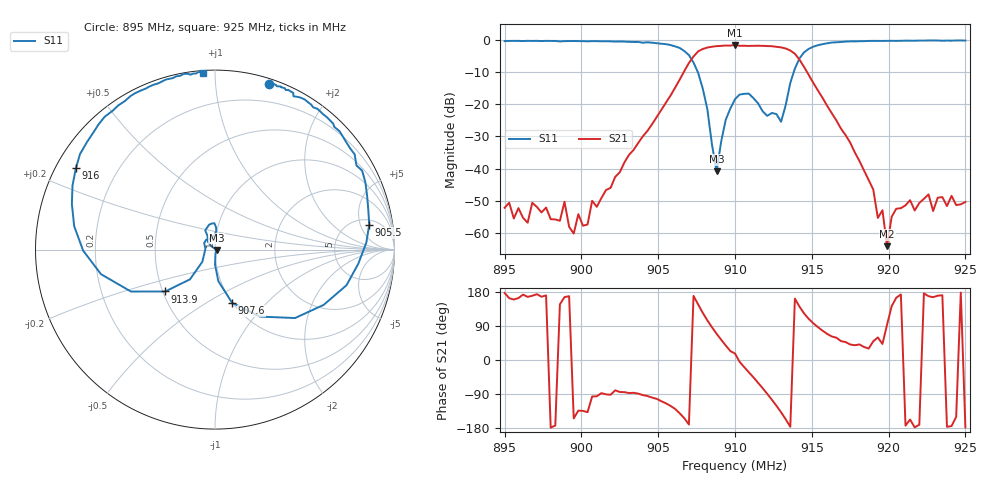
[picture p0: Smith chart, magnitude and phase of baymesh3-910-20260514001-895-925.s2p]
# HZ S RI R 50
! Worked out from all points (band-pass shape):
!   101 points, 895 MHz to 925 MHz, reference 50 ohm
!   highest |S21| = -1.42 dB at 910 MHz (marker M1); lowest = -64.2 dB at 919.9 MHz (marker M2)
!   |S21| within 3 dB of the highest: 907.42 MHz to 913.93 MHz (6.513 MHz wide, 0.715 % of centre)
!   lowest |S11| = -40.9 dB at 908.8 MHz (marker M3), VSWR 1.02, Z = 50.9 - j0.225 ohm
!   |S11| at or under -10 dB: 907.59 MHz to 913.82 MHz (6.234 MHz wide, 0.684 % of centre)
!   S12 and S22 are empty: the file has one direction only
!   S11 on the Smith chart (normalised r, x): 895 MHz: 0.04, +1.38; 905.5 MHz: 6.26, +7.10; 907.6 MHz: 1.00, -0.65; 913.9 MHz: 0.52, -0.28; 916 MHz: 0.06, +0.27; 925 MHz: 0.01, +0.93
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8.95e8  0.3005 0.9232  -0.00244 0.00013  0 0  0 0
8.986e8  0.4371 0.8543  -0.00128 0.000838  0 0  0 0
8.989e8  0.4675 0.8494  -0.00294 0.000734  0 0  0 0
8.995e8  0.5009 0.8357  -0.000872 -0.000423  0 0  0 0
9.001e8  0.5353 0.8084  -0.000895 -0.00092  0 0  0 0
9.052e8  0.8539 0.2261  -0.0263 -0.0776  0 0  0 0
9.055e8  0.8593 0.1378  -0.0435 -0.0969  0 0  0 0
9.067e8  0.6053 -0.3082  -0.2967 -0.1466  0 0  0 0
9.076e8  0.0951 -0.2963  -0.5608 0.37  0 0  0 0
9.088e8  0.00879 -0.00221  0.2849 0.7587  0 0  0 0
9.1e8  -0.0546 0.1075  0.8115 0.2498  0 0  0 0
9.121e8  -0.0325 0.0577  0.00804 -0.8119  0 0  0 0
9.13e8  -0.0534 0.00514  -0.5751 -0.5193  0 0  0 0
9.139e8  -0.2775 -0.2334  -0.5848 0.1902  0 0  0 0
9.151e8  -0.7846 0.1303  -0.0256 0.2145  0 0  0 0
9.16e8  -0.7752 0.4533  0.0341 0.0886  0 0  0 0
9.19e8  -0.4454 0.8713  0.00308 0.00358  0 0  0 0
9.193e8  -0.4112 0.887  0.000862 0.00146  0 0  0 0
9.196e8  -0.384 0.8979  0.00165 0.00151  0 0  0 0
9.199e8  -0.364 0.9093  -3.38e-05 0.000615  0 0  0 0
9.202e8  -0.339 0.9196  -0.00139 0.00109  0 0  0 0
9.25e8  -0.0695 0.9855  -0.00301 -0.000103  0 0  0 0
